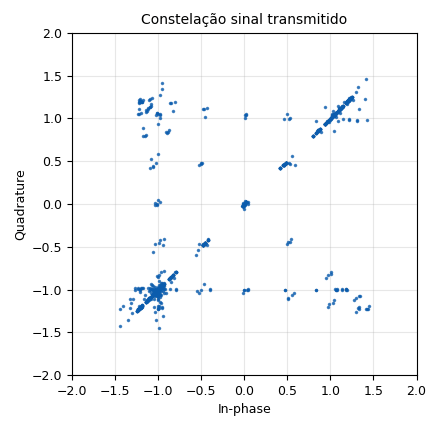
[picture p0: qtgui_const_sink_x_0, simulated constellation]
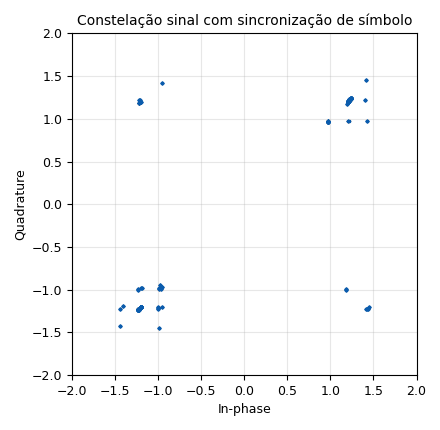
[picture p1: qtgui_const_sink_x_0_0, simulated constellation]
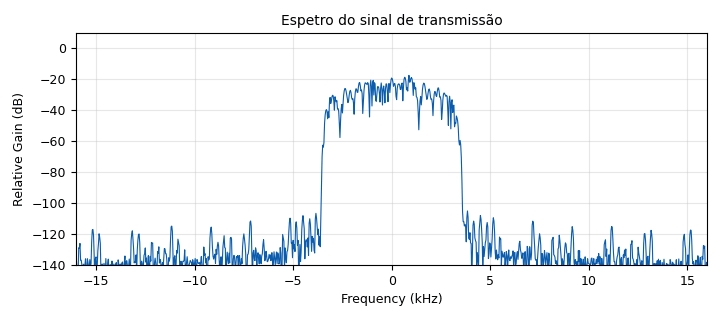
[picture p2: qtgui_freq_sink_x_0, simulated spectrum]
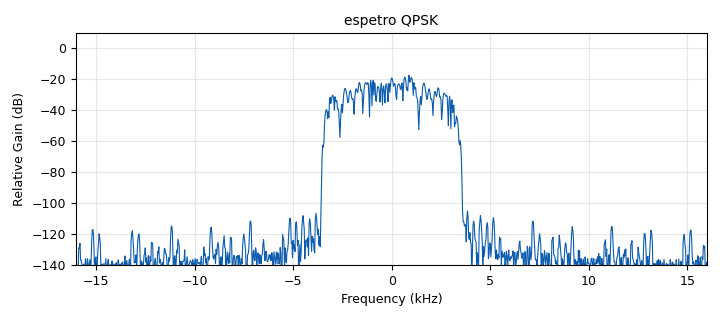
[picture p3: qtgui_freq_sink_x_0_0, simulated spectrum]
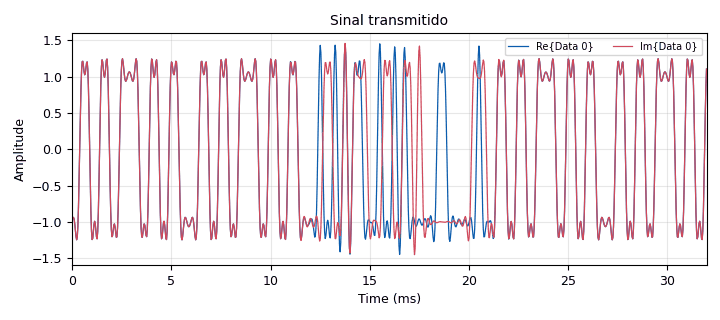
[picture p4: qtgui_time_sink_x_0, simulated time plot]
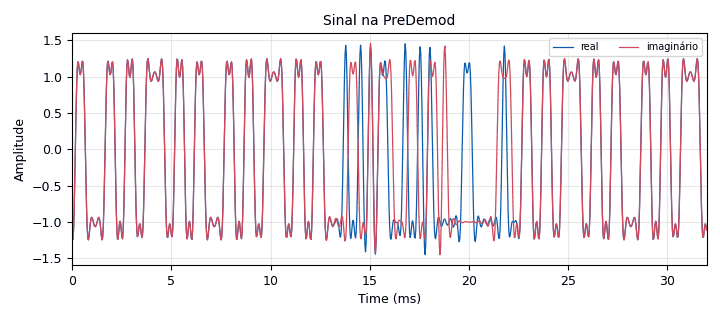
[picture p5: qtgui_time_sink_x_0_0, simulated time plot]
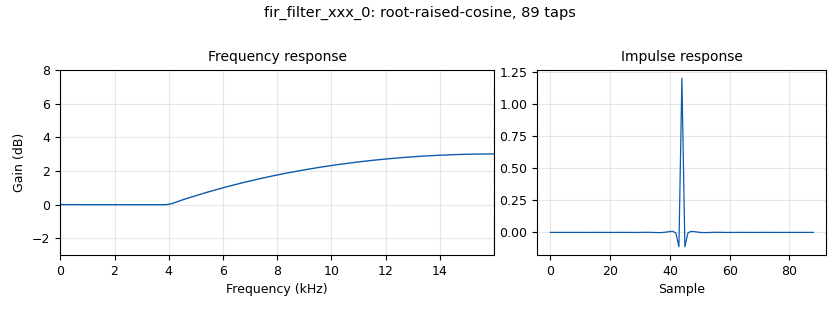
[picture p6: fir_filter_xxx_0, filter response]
options:
  parameters:
    generate_options: qt_gui
    id: modQPSK
    output_language: python
    title: Not titled yet
  states: {}

blocks:
- name: QPSK
  id: variable_constellation
  parameters:
    const_points: '[-1-1j,-1+1j, 1+1j, 1 - 1j]'
    dims: '1'
    normalization: digital.constellation.NO_NORMALIZATION
    precision: '8'
    rot_sym: '2'
    sym_map: '[0, 1, 3, 2]'
    type: calcdist
  states: {}
- name: rolloff
  id: variable
  parameters:
    value: '0.75'
  states: {}
- name: rrc_taps
  id: variable
  parameters:
    value: firdes.root_raised_cosine(1.0,samp_rate,samp_rate,rolloff,11*sps)
  states: {}
- name: samp_rate
  id: variable
  parameters:
    value: '32000'
  states: {}
- name: sps
  id: variable
  parameters:
    value: '8'
  states: {}
- name: blocks_add_xx_0
  id: blocks_add_xx
  parameters:
    type: float
  states: {state: disabled}
- name: blocks_char_to_float_0
  id: blocks_char_to_float
  parameters:
    scale: '1'
  states: {state: disabled}
- name: blocks_char_to_float_0_0
  id: blocks_char_to_float
  parameters:
    scale: '1'
  states: {state: disabled}
- name: blocks_complex_to_imag_0
  id: blocks_complex_to_imag
  parameters: {}
  states: {}
- name: blocks_complex_to_imag_0_0
  id: blocks_complex_to_imag
  parameters: {}
  states: {state: disabled}
- name: blocks_complex_to_real_0
  id: blocks_complex_to_real
  parameters: {}
  states: {}
- name: blocks_complex_to_real_0_0
  id: blocks_complex_to_real
  parameters: {}
  states: {state: disabled}
- name: blocks_file_sink_0
  id: blocks_file_sink
  parameters:
    file: qpsk_vector_output.dat
    type: byte
    unbuffered: 'True'
  states: {}
- name: blocks_file_sink_0_0
  id: blocks_file_sink
  parameters:
    comment: |-
      O Buffer é duplicado, graças à codificação paralela das componentes em fase e quadratura do sinal
      OFFSET_VECTOR  >16

      BUFFER_OFFSET = 98
    file: qpsk_vector_output_receptor.dat
    type: byte
    unbuffered: 'True'
  states: {}
- name: blocks_float_to_char_0
  id: blocks_float_to_char
  parameters:
    scale: '1'
  states: {state: disabled}
- name: blocks_interleave_0
  id: blocks_interleave
  parameters:
    type: byte
  states: {}
- name: blocks_multiply_const_vxx_0
  id: blocks_multiply_const_vxx
  parameters:
    const: '2'
    type: float
  states: {state: disabled}
- name: blocks_pack_k_bits_bb_0
  id: blocks_pack_k_bits_bb
  parameters:
    k: '8'
  states: {}
- name: blocks_throttle_0
  id: blocks_throttle
  parameters:
    samples_per_second: samp_rate
    type: complex
  states: {}
- name: blocks_vector_source_x_0
  id: blocks_vector_source_x
  parameters:
    repeat: 'True'
    type: byte
    vector: '[240,240,240,15,15,15,240,240,240] + [9, 99, 61, 9, 99, 68, 10, 0, 29] + [15,15,15,240,240,240,15,15,15] '
  states: {}
- name: channels_channel_model_0
  id: channels_channel_model
  parameters:
    epsilon: '1.0'
    freq_offset: '0.0'
    noise_voltage: '0'
    seed: '0'
    taps: '1.0 '
  states: {}
- name: digital_binary_slicer_fb_0_0
  id: digital_binary_slicer_fb
  parameters: {}
  states: {}
- name: digital_binary_slicer_fb_0_0_0
  id: digital_binary_slicer_fb
  parameters: {}
  states: {}
- name: digital_binary_slicer_fb_0_0_0_0
  id: digital_binary_slicer_fb
  parameters: {}
  states: {state: disabled}
- name: digital_binary_slicer_fb_0_0_1
  id: digital_binary_slicer_fb
  parameters: {}
  states: {state: disabled}
- name: digital_constellation_modulator_0
  id: digital_constellation_modulator
  parameters:
    constellation: QPSK
    differential: 'False'
    excess_bw: rolloff
    samples_per_symbol: sps
    verbose: 'True'
  states: {}
- name: digital_symbol_sync_xx_0
  id: digital_symbol_sync_xx
  parameters:
    damping: '1.0'
    loop_bw: '0.07'
    max_dev: '1.5'
    osps: '1'
    resamp_type: digital.IR_MMSE_8TAP
    sps: sps
    ted_gain: '1'
    ted_type: digital.TED_SIGNAL_TIMES_SLOPE_ML
    type: cc
  states: {}
- name: fir_filter_xxx_0
  id: fir_filter_xxx
  parameters:
    decim: '1'
    taps: rrc_taps
    type: ccc
  states: {}
- name: qtgui_const_sink_x_0
  id: qtgui_const_sink_x
  parameters:
    name: '"Constelação sinal transmitido"'
    size: '1024'
    type: complex
  states: {}
- name: qtgui_const_sink_x_0_0
  id: qtgui_const_sink_x
  parameters:
    name: '"Constelação sinal com sincronização de símbolo"'
    size: '1024'
    type: complex
  states: {}
- name: qtgui_freq_sink_x_0
  id: qtgui_freq_sink_x
  parameters:
    bw: samp_rate
    fc: '0'
    fftsize: '1024'
    name: '"Espetro do sinal de transmissão"'
    type: complex
  states: {}
- name: qtgui_freq_sink_x_0_0
  id: qtgui_freq_sink_x
  parameters:
    bw: samp_rate
    fc: '0'
    fftsize: '1024'
    name: espetro QPSK
    type: complex
  states: {}
- name: qtgui_time_sink_x_0
  id: qtgui_time_sink_x
  parameters:
    autoscale: 'True'
    entags: 'False'
    name: '"Sinal transmitido"'
    size: '1024'
    srate: samp_rate
    type: complex
  states: {}
- name: qtgui_time_sink_x_0_0
  id: qtgui_time_sink_x
  parameters:
    autoscale: 'True'
    entags: 'False'
    label1: real
    label2: imaginário
    name: '"Sinal na PreDemod"'
    size: '1024'
    srate: samp_rate
    type: complex
    update_time: '100'
  states: {}
- name: virtual_sink_0
  id: virtual_sink
  parameters:
    stream_id: QPSK_mod
  states: {}
- name: virtual_sink_1
  id: virtual_sink
  parameters:
    stream_id: QPSK_preDemod
  states: {}
- name: virtual_source_0
  id: virtual_source
  parameters:
    stream_id: QPSK_mod
  states: {}
- name: virtual_source_0_0
  id: virtual_source
  parameters:
    stream_id: QPSK_mod
  states: {}
- name: virtual_source_1
  id: virtual_source
  parameters:
    stream_id: QPSK_preDemod
  states: {}
- name: virtual_source_1_0
  id: virtual_source
  parameters:
    stream_id: QPSK_preDemod
  states: {state: disabled}
- name: virtual_source_1_1
  id: virtual_source
  parameters:
    stream_id: QPSK_preDemod
  states: {}
- name: virtual_source_1_1_0
  id: virtual_source
  parameters:
    stream_id: QPSK_preDemod
  states: {state: disabled}

connections:
- [blocks_add_xx_0, '0', blocks_float_to_char_0, '0']
- [blocks_char_to_float_0, '0', blocks_add_xx_0, '1']
- [blocks_char_to_float_0_0, '0', blocks_multiply_const_vxx_0, '0']
- [blocks_complex_to_imag_0, '0', digital_binary_slicer_fb_0_0, '0']
- [blocks_complex_to_imag_0_0, '0', digital_binary_slicer_fb_0_0_1, '0']
- [blocks_complex_to_real_0, '0', digital_binary_slicer_fb_0_0_0, '0']
- [blocks_complex_to_real_0_0, '0', digital_binary_slicer_fb_0_0_0_0, '0']
- [blocks_float_to_char_0, '0', blocks_pack_k_bits_bb_0, '0']
- [blocks_interleave_0, '0', blocks_pack_k_bits_bb_0, '0']
- [blocks_multiply_const_vxx_0, '0', blocks_add_xx_0, '0']
- [blocks_pack_k_bits_bb_0, '0', blocks_file_sink_0_0, '0']
- [blocks_throttle_0, '0', virtual_sink_0, '0']
- [blocks_vector_source_x_0, '0', blocks_file_sink_0, '0']
- [blocks_vector_source_x_0, '0', digital_constellation_modulator_0, '0']
- [channels_channel_model_0, '0', fir_filter_xxx_0, '0']
- [digital_binary_slicer_fb_0_0, '0', blocks_interleave_0, '1']
- [digital_binary_slicer_fb_0_0_0, '0', blocks_interleave_0, '0']
- [digital_binary_slicer_fb_0_0_0_0, '0', blocks_char_to_float_0_0, '0']
- [digital_binary_slicer_fb_0_0_1, '0', blocks_char_to_float_0, '0']
- [digital_constellation_modulator_0, '0', blocks_throttle_0, '0']
- [digital_constellation_modulator_0, '0', qtgui_freq_sink_x_0_0, '0']
- [digital_symbol_sync_xx_0, '0', qtgui_const_sink_x_0_0, '0']
- [digital_symbol_sync_xx_0, '0', virtual_sink_1, '0']
- [fir_filter_xxx_0, '0', digital_symbol_sync_xx_0, '0']
- [fir_filter_xxx_0, '0', qtgui_time_sink_x_0_0, '0']
- [virtual_source_0, '0', channels_channel_model_0, '0']
- [virtual_source_0_0, '0', qtgui_const_sink_x_0, '0']
- [virtual_source_0_0, '0', qtgui_freq_sink_x_0, '0']
- [virtual_source_0_0, '0', qtgui_time_sink_x_0, '0']
- [virtual_source_1, '0', blocks_complex_to_real_0, '0']
- [virtual_source_1_0, '0', blocks_complex_to_real_0_0, '0']
- [virtual_source_1_1, '0', blocks_complex_to_imag_0, '0']
- [virtual_source_1_1_0, '0', blocks_complex_to_imag_0_0, '0']

metadata:
  file_format: 1
  grc_version: 3.10.4.0
